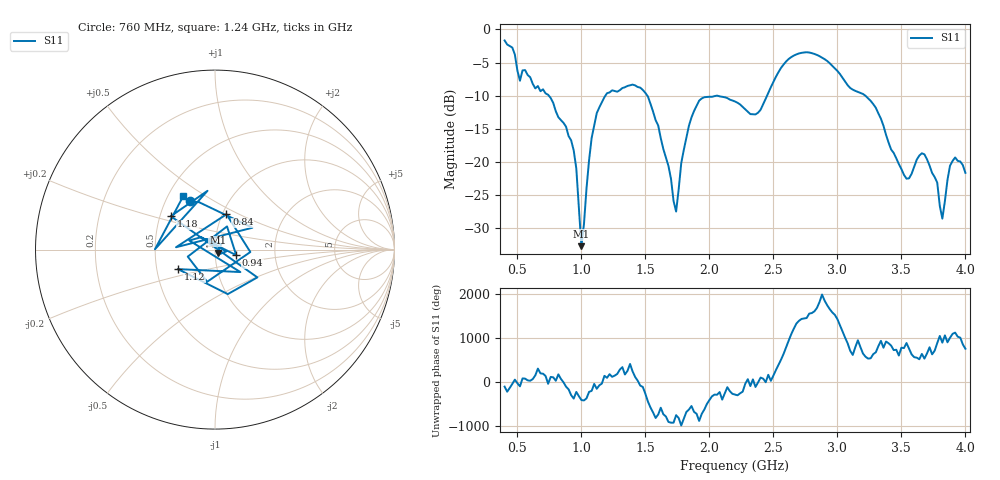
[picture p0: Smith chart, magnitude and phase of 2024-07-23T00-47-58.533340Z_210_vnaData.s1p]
!Created with skrf (http://scikit-rf.org).
# Hz S RI R 50.0
!freq ReS11 ImS11
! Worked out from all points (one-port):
!   181 points, 400 MHz to 4 GHz, reference 50 ohm
!   lowest |S11| = -32.7 dB at 1 GHz (marker M1), VSWR 1.05, Z = 51.5 - j1.79 ohm
!   |S11| at or under -10 dB: 745.7 MHz to 1.187 GHz (441.6 MHz wide, 45.7 % of centre); 1.515 GHz to 2.057 GHz (541.9 MHz wide, 30.3 % of centre); 3.218 GHz to end of sweep (the widest 3 of 4)
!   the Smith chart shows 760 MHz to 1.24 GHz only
!   S11 on the Smith chart (normalised r, x): 760 MHz: 0.66, +0.39; 840 MHz: 1.05, +0.43; 940 MHz: 1.26, -0.08; 1.12 GHz: 0.64, -0.15; 1.18 GHz: 0.57, +0.23; 1.24 GHz: 0.60, +0.41
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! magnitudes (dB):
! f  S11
! 400 MHz  -1.7
! 520 MHz  -7.7
! 760 MHz  -10.3
! 840 MHz  -13.7
! 860 MHz  -14.1
! 940 MHz  -18.3
! 1 GHz  -32.7
! 1.06 GHz  -19.7
! 1.12 GHz  -12.6
! 1.18 GHz  -10.2
! 1.24 GHz  -9.2
! 1.3 GHz  -9.2
! 1.52 GHz  -10.1
! 1.74 GHz  -27.5
! 1.76 GHz  -24.1
! 1.84 GHz  -14.5
! 1.92 GHz  -10.7
! 2.2 GHz  -10.9
! 2.38 GHz  -12.6
! 2.66 GHz  -3.9
! 3.1 GHz  -8.8
! 3.3 GHz  -11.8
! 3.56 GHz  -22.5
! 3.68 GHz  -18.9
! 3.78 GHz  -23.1
! 3.82 GHz  -28.5
! 3.88 GHz  -20.6
! 4 GHz  -21.6
